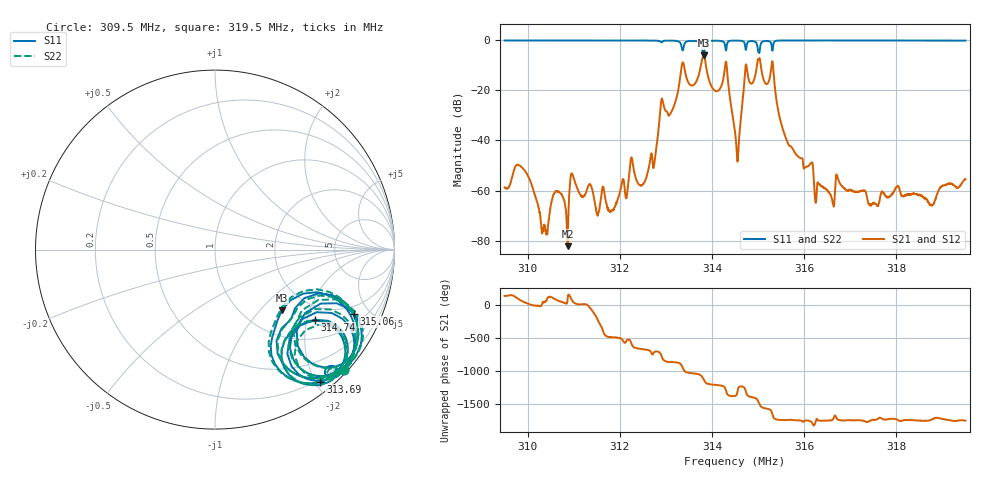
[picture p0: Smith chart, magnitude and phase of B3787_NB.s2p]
! Matrix data file written by TouchstoneData, EPCOS AG
! FILENAME: "B3787_NB.s2p"
! COMMENT: "(LZ18A_1_NB.s2p) EPCOS AG 01.03.2011 09:52:0"
! INFO: nport=2, nfreq=1601
! DATE: "Fri Jan 13 08:56:20 2012"
! USER: "Wilfried Schott"
! port | pin | signal
!  1  |  2  |  IN
!  2  |  5  |  OUT
# MHZ S MA R 50
! freq  magS11 angS11  magS21 angS21  magS12 angS12  magS22 angS22
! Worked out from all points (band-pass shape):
!   1601 points, 309.5 MHz to 319.5 MHz, reference 50 ohm
!   highest |S21| = -6.13 dB at 313.82 MHz (marker M1); lowest = -82.2 dB at 310.87 MHz (marker M2)
!   |S21| within 3 dB of the highest: 313.7699 MHz to 313.8598 MHz (89.97 kHz wide, 0.0287 % of centre); 314.9839 MHz to 315.0525 MHz (68.61 kHz wide, 0.0218 % of centre) (the widest 2 of 5)
!   lowest |S11| = -6.0 dB at 313.82 MHz (marker M3), VSWR 3.03, Z = 73.4 - j66.6 ohm
!   |S11| at or under -10 dB: nowhere
!   |S22| runs from -6.2 to -0.1 dB; largest |S21 - S12| = 0
!   S11 on the Smith chart (normalised r, x): 309.5 MHz: 0.07, -2.53; 313.69 MHz: 0.16, -2.07; 314.74 MHz: 1.54, -2.23; 315.06 MHz: 1.54, -3.98; 319.5 MHz: 0.09, -2.52
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309.5  0.9814 -43.1  0.001153 130.8  0.001153 130.8  0.9837 -43.0
309.8125  0.9815 -43.3  0.003193 77.1  0.003193 77.1  0.9795 -42.9
310.3562  0.9816 -43.4  0.0002103 35.0  0.0002103 35.0  0.9837 -43.2
310.6187  0.9826 -43.6  0.0009803 72.3  0.0009803 72.3  0.9828 -43.2
310.8687  0.9818 -43.8  7.759e-05 88.5  7.759e-05 88.5  0.9833 -43.4
310.9688  0.9803 -43.7  0.002136 55.6  0.002136 55.6  0.9826 -43.3
311.1687  0.9816 -43.9  0.0007632 4.4  0.0007632 4.4  0.9845 -43.5
312.4937  0.9812 -45.6  0.001297 48.0  0.001297 48.0  0.9836 -45.3
312.8375  0.9675 -47.9  0.01562 8.2  0.01562 8.2  0.9754 -47.4
313.3625  0.6242 -47.8  0.356 130.9  0.356 130.9  0.6209 -47.2
313.6938  0.9427 -51.5  0.1765 31.0  0.1765 31.0  0.9408 -51.5
313.8188  0.5033 -42.3  0.4843 -44.8  0.4843 -44.8  0.4915 -40.2
313.825  0.5065 -33.9  0.4938 -53.4  0.4938 -53.4  0.5005 -32.0
314.0688  0.9721 -41.4  0.09747 -131.4  0.09747 -131.4  0.9748 -41.0
314.3125  0.6654 -31.6  0.351 121.7  0.351 121.7  0.6487 -30.8
314.5  0.978 -42.3  0.01496 61.0  0.01496 61.0  0.9799 -41.5
314.5813  0.9759 -44.6  0.008518 -167.9  0.008518 -167.9  0.9781 -43.8
314.7437  0.678 -35.1  0.3238 108.9  0.3238 108.9  0.7108 -36.2
315.0625  0.8508 -24.8  0.2992 -98.0  0.2992 -98.0  0.8496 -25.0
316.1687  0.983 -40.7  0.00362 20.1  0.00362 20.1  0.9837 -40.3
317.8375  0.9817 -42.5  0.0007514 70.4  0.0007514 70.4  0.9848 -42.0
319.5  0.976 -43.3  0.001693 49.0  0.001693 49.0  0.9806 -42.8
